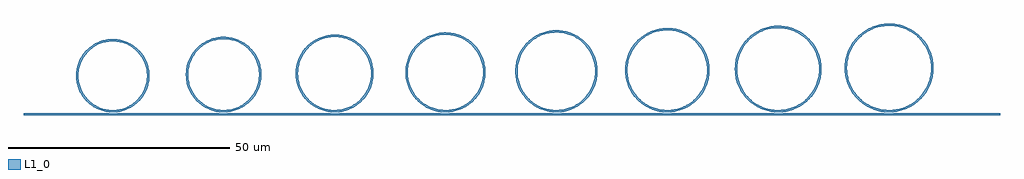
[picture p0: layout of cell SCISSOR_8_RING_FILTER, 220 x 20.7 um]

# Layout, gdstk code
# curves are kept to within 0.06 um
import gdstk
lib = gdstk.Library(unit=1e-6, precision=1e-09)
def R(c, l, rs):  # rectangles x0, y0, x1, y1
    for r in rs: c.add(gdstk.rectangle(r[:2], r[2:], *l))
def P(c, l, *ps):  # polygons
    for p in ps: c.add(gdstk.Polygon(p, *l))
L1_0 = (1, 0)

ring_1_r8 = lib.new_cell('RING_1_R8')
P(ring_1_r8, L1_0, [(0.272,-8.246),(1.709,-8.071),(3.094,-7.648),(4.687,-6.79),(5.802,-5.866),(6.738,-4.761),(7.613,-3.178),(8.052,-1.798),(8.25,0),(7.75,0),(7.622,-1.404),(7.108,-3.088),(6.432,-4.324),(5.29,-5.664),(4.176,-6.528),(2.925,-7.177),(1.577,-7.588),(0.176,-7.748),(-1.23,-7.652),(-2.595,-7.303),(-3.875,-6.712),(-5.29,-5.664),(-6.432,-4.324),(-7.108,-3.088),(-7.622,-1.404),(-7.75,0),(-8.248,0),(-8.089,-1.621),(-7.542,-3.345),(-6.632,-4.908),(-5.671,-5.992),(-4.229,-7.084),(-2.925,-7.714),(-1.532,-8.107)],
  [(-7.742,0.353),(-7.55,1.749),(-7.108,3.088),(-6.432,4.324),(-5.29,5.664),(-3.875,6.712),(-2.595,7.303),(-1.23,7.652),(0.176,7.748),(1.577,7.588),(2.925,7.177),(4.176,6.528),(5.29,5.664),(6.432,4.324),(7.108,3.088),(7.622,1.404),(7.75,0),(8.25,0),(8.052,1.798),(7.613,3.178),(6.738,4.761),(5.802,5.866),(4.687,6.79),(3.094,7.648),(1.709,8.071),(0.272,8.246),(-1.532,8.107),(-2.925,7.714),(-4.229,7.084),(-5.671,5.992),(-6.841,4.612),(-7.387,3.673),(-7.806,2.67),(-8.153,1.264),(-8.248,0),(-7.75,0)])

ring_2_r8_25 = lib.new_cell('RING_2_R8.25')
P(ring_2_r8_25, L1_0, [(0.46,-8.488),(1.917,-8.281),(3.317,-7.826),(4.617,-7.137),(6.043,-5.978),(7.187,-4.539),(7.862,-3.232),(8.373,-1.466),(8.5,0),(8,0),(7.799,-1.78),(7.356,-3.144),(6.677,-4.407),(5.529,-5.782),(4.407,-6.677),(2.811,-7.49),(1.428,-7.871),(0,-8),(-1.428,-7.871),(-2.811,-7.49),(-4.407,-6.677),(-5.529,-5.782),(-6.677,-4.407),(-7.356,-3.144),(-7.799,-1.78),(-8,0),(-8.498,0),(-8.339,-1.647),(-7.79,-3.401),(-7.087,-4.694),(-5.912,-6.107),(-4.461,-7.235),(-2.801,-8.025),(-1.01,-8.44)],
  [(-7.992,0.359),(-7.712,2.128),(-7.208,3.471),(-6.472,4.702),(-5.529,5.782),(-4.407,6.677),(-2.811,7.49),(-1.428,7.871),(0,8),(1.428,7.871),(2.811,7.49),(4.407,6.677),(5.529,5.782),(6.677,4.407),(7.356,3.144),(7.799,1.78),(8,0),(8.5,0),(8.373,1.466),(7.862,3.232),(7.187,4.539),(6.043,5.978),(4.617,7.137),(3.317,7.826),(1.917,8.281),(0.092,8.5),(-1.737,8.321),(-3.146,7.896),(-4.461,7.235),(-5.912,6.107),(-7.087,4.694),(-7.93,3.06),(-8.339,1.647),(-8.498,0.184),(-8.498,0),(-8,0)])

ring_3_r8_5 = lib.new_cell('RING_3_R8.5')
P(ring_3_r8_5, L1_0, [(0.28,-8.746),(2.129,-8.487),(3.542,-8.001),(4.852,-7.282),(6.286,-6.087),(7.434,-4.616),(8.111,-3.284),(8.551,-1.856),(8.75,0),(8.25,0),(8.052,-1.798),(7.746,-2.841),(7.305,-3.834),(6.522,-5.052),(5.538,-6.115),(4.384,-6.989),(3.094,-7.648),(1.709,-8.071),(-0.091,-8.25),(-1.532,-8.107),(-2.925,-7.714),(-4.229,-7.084),(-5.671,-5.992),(-6.632,-4.908),(-7.387,-3.673),(-8.01,-1.974),(-8.2,-0.904),(-8.248,0),(-8.748,0),(-8.589,-1.673),(-8.039,-3.456),(-7.123,-5.082),(-6.154,-6.22),(-4.695,-7.384),(-3.022,-8.212),(-1.212,-8.666)],
  [(-8.248,0.181),(-8.089,1.621),(-7.542,3.345),(-6.841,4.612),(-5.929,5.737),(-4.835,6.685),(-3.261,7.578),(-1.532,8.107),(-0.091,8.25),(1.709,8.071),(3.094,7.648),(4.384,6.989),(5.538,6.115),(6.522,5.052),(7.305,3.834),(7.746,2.841),(8.052,1.798),(8.25,0),(8.75,0),(8.551,1.856),(8.111,3.284),(7.434,4.616),(6.286,6.087),(4.852,7.282),(3.542,8.001),(1.764,8.57),(-0.093,8.75),(-1.947,8.531),(-3.712,7.924),(-5.006,7.177),(-6.414,5.952),(-7.531,4.456),(-8.304,2.757),(-8.652,1.304),(-8.748,0),(-8.248,0)])

ring_4_r8_75 = lib.new_cell('RING_4_R8.75')
P(ring_4_r8_75, L1_0, [(0.474,-8.987),(2.345,-8.689),(3.77,-8.172),(5.089,-7.423),(6.529,-6.194),(7.477,-5.01),(8.36,-3.334),(8.801,-1.884),(9,0),(8.5,0),(8.301,-1.827),(7.994,-2.888),(7.553,-3.9),(6.767,-5.144),(5.778,-6.234),(4.617,-7.137),(2.974,-7.963),(1.557,-8.356),(0.092,-8.5),(-1.737,-8.321),(-3.146,-7.896),(-4.461,-7.235),(-5.912,-6.107),(-6.877,-4.996),(-7.635,-3.735),(-8.26,-2.007),(-8.45,-0.919),(-8.498,0),(-8.998,0),(-8.838,-1.698),(-8.287,-3.51),(-7.369,-5.167),(-6.125,-6.594),(-4.609,-7.73),(-2.889,-8.524),(-1.041,-8.94)],
  [(-8.498,0.184),(-8.26,2.007),(-7.79,3.401),(-7.087,4.694),(-5.912,6.107),(-4.461,7.235),(-3.146,7.896),(-1.737,8.321),(0.092,8.5),(1.557,8.356),(2.974,7.963),(4.617,7.137),(5.778,6.234),(6.767,5.144),(7.553,3.9),(7.994,2.888),(8.301,1.827),(8.5,0),(9,0),(8.801,1.884),(8.212,3.684),(7.259,5.321),(6.263,6.464),(5.089,7.423),(3.422,8.324),(1.604,8.856),(0.095,8.999),(-1.791,8.82),(-3.597,8.25),(-4.931,7.529),(-6.397,6.33),(-7.581,4.851),(-8.132,3.856),(-8.554,2.799),(-8.902,1.324),(-8.998,0),(-8.498,0)])

ring_5_r9 = lib.new_cell('RING_5_R9')
P(ring_5_r9, L1_0, [(0.289,-9.245),(2.192,-8.987),(3.651,-8.499),(5.008,-7.777),(6.507,-6.575),(7.506,-5.406),(8.461,-3.739),(9.051,-1.911),(9.25,0),(8.75,0),(8.551,-1.856),(8.243,-2.934),(7.801,-3.964),(7.012,-5.233),(6.02,-6.35),(4.852,-7.282),(3.197,-8.145),(1.396,-8.638),(-0.093,-8.75),(-1.947,-8.531),(-3.37,-8.075),(-5.006,-7.177),(-6.154,-6.22),(-7.123,-5.082),(-7.883,-3.796),(-8.509,-2.038),(-8.7,-0.933),(-8.748,0),(-9.248,0),(-9.088,-1.722),(-8.537,-3.562),(-7.617,-5.249),(-6.368,-6.709),(-5.169,-7.671),(-3.473,-8.573),(-1.627,-9.106)],
  [(-8.748,0.187),(-8.589,1.673),(-8.039,3.456),(-7.123,5.082),(-6.154,6.22),(-5.006,7.177),(-3.37,8.075),(-1.947,8.531),(-0.093,8.75),(1.396,8.638),(3.197,8.145),(4.852,7.282),(6.02,6.35),(7.012,5.233),(7.801,3.964),(8.243,2.934),(8.551,1.856),(8.75,0),(9.25,0),(9.051,1.911),(8.461,3.739),(7.506,5.406),(6.507,6.575),(5.008,7.777),(3.651,8.499),(2.192,8.987),(0.289,9.245),(-1.627,9.106),(-3.473,8.573),(-5.169,7.671),(-6.642,6.438),(-7.829,4.927),(-8.381,3.914),(-8.803,2.84),(-9.152,1.342),(-9.248,0),(-8.748,0)])

ring_6_r9_25 = lib.new_cell('RING_6_R9.25')
P(ring_6_r9_25, L1_0, [(0.487,-9.487),(2.412,-9.189),(3.882,-8.671),(5.568,-7.697),(7.021,-6.4),(7.973,-5.166),(8.858,-3.432),(9.372,-1.554),(9.5,0),(9,0),(8.801,-1.884),(8.493,-2.979),(8.049,-4.027),(7.259,-5.321),(6.263,-6.464),(5.089,-7.423),(3.422,-8.324),(1.604,-8.856),(0.095,-8.999),(-1.417,-8.888),(-3.246,-8.394),(-4.931,-7.529),(-6.125,-6.594),(-7.145,-5.473),(-7.962,-4.195),(-8.428,-3.157),(-8.759,-2.069),(-8.95,-0.947),(-8.998,0),(-9.498,0),(-9.338,-1.746),(-8.786,-3.613),(-7.865,-5.328),(-6.613,-6.82),(-5.084,-8.025),(-3.341,-8.893),(-1.457,-9.388)],
  [(-8.998,0.19),(-8.759,2.069),(-8.132,3.856),(-7.145,5.473),(-6.125,6.594),(-4.931,7.529),(-3.246,8.394),(-1.417,8.888),(0.095,8.999),(1.604,8.856),(3.422,8.324),(5.089,7.423),(6.263,6.464),(7.259,5.321),(8.049,4.027),(8.493,2.979),(8.801,1.884),(9,0),(9.5,0),(9.3,1.937),(8.71,3.793),(7.973,5.166),(6.752,6.683),(5.247,7.919),(3.523,8.823),(1.65,9.356),(0.098,9.499),(-1.841,9.32),(-3.703,8.749),(-5.409,7.81),(-6.888,6.543),(-7.64,5.647),(-8.276,4.665),(-9.053,2.88),(-9.402,1.361),(-9.498,0),(-8.998,0)])

ring_7_r9_5 = lib.new_cell('RING_7_R9.5')
P(ring_7_r9_5, L1_0, [(0.296,-9.745),(2.252,-9.486),(4.116,-8.839),(5.811,-7.829),(6.998,-6.789),(8.222,-5.241),(8.96,-3.845),(9.55,-1.963),(9.75,0),(9.25,0),(9.051,-1.911),(8.742,-3.023),(8.298,-4.088),(7.506,-5.406),(6.228,-6.84),(5.008,-7.777),(3.294,-8.644),(1.438,-9.138),(-0.096,-9.249),(-1.627,-9.106),(-3.473,-8.573),(-5.169,-7.671),(-6.368,-6.709),(-7.392,-5.561),(-8.211,-4.259),(-8.677,-3.204),(-9.009,-2.099),(-9.2,-0.961),(-9.248,0),(-9.748,0),(-9.588,-1.769),(-9.036,-3.663),(-8.114,-5.407),(-6.859,-6.929),(-5.324,-8.168),(-3.571,-9.073),(-1.671,-9.606)],
  [(-9.248,0.192),(-9.009,2.099),(-8.537,3.562),(-7.617,5.249),(-6.642,6.438),(-5.169,7.671),(-3.827,8.421),(-2.005,9.03),(-0.096,9.249),(1.438,9.138),(3.294,8.644),(5.008,7.777),(6.228,6.84),(7.506,5.406),(8.298,4.088),(8.742,3.023),(9.051,1.911),(9.25,0),(9.75,0),(9.55,1.963),(8.96,3.845),(8.222,5.241),(6.998,6.789),(5.488,8.058),(3.754,8.998),(1.866,9.57),(-0.099,9.749),(-2.059,9.53),(-3.936,8.92),(-5.651,7.946),(-7.134,6.645),(-7.888,5.731),(-8.525,4.732),(-9.303,2.919),(-9.652,1.379),(-9.748,0),(-9.248,0)])

ring_8_r9_75 = lib.new_cell('RING_8_R9.75')
P(ring_8_r9_75, L1_0, [(0.5,-9.987),(2.475,-9.689),(3.988,-9.17),(5.731,-8.195),(7.246,-6.892),(8.252,-5.649),(9.21,-3.896),(9.8,-1.988),(10,0),(9.5,0),(9.428,-1.167),(9.213,-2.317),(8.547,-4.147),(7.522,-5.803),(6.472,-6.955),(4.918,-8.128),(3.523,-8.823),(1.65,-9.356),(0.098,-9.499),(-1.841,-9.32),(-3.703,-8.749),(-5.409,-7.81),(-6.613,-6.82),(-7.64,-5.647),(-8.46,-4.322),(-8.927,-3.249),(-9.259,-2.128),(-9.45,-0.974),(-9.498,0),(-9.998,0),(-9.95,-0.999),(-9.759,-2.183),(-9.13,-4.08),(-8.137,-5.813),(-6.819,-7.314),(-5.229,-8.524),(-3.431,-9.393),(-1.495,-9.888)],
  [(-9.498,0.195),(-9.259,2.128),(-8.786,3.613),(-7.865,5.328),(-6.613,6.82),(-5.409,7.81),(-3.703,8.749),(-1.841,9.32),(0.098,9.499),(1.65,9.356),(3.523,8.823),(4.918,8.128),(6.472,6.955),(7.522,5.803),(8.547,4.147),(9.213,2.317),(9.428,1.167),(9.5,0),(10,0),(9.8,1.988),(9.21,3.896),(8.252,5.649),(7.246,6.892),(5.731,8.195),(3.988,9.17),(2.086,9.78),(0.1,9.999),(-1.89,9.82),(-3.804,9.248),(-5.566,8.308),(-7.106,7.036),(-7.898,6.134),(-8.576,5.144),(-9.427,3.336),(-9.838,1.791),(-9.998,0.2),(-9.998,0),(-9.498,0)])

scissor_8_ring_filter = lib.new_cell('SCISSOR_8_RING_FILTER')
R(scissor_8_ring_filter, L1_0, [(-20,-0.25,200,0.25)])
scissor_8_ring_filter.add(gdstk.Reference(ring_1_r8, (0,8.7)))
scissor_8_ring_filter.add(gdstk.Reference(ring_2_r8_25, (25,8.95)))
scissor_8_ring_filter.add(gdstk.Reference(ring_3_r8_5, (50,9.2)))
scissor_8_ring_filter.add(gdstk.Reference(ring_4_r8_75, (75,9.45)))
scissor_8_ring_filter.add(gdstk.Reference(ring_5_r9, (100,9.7)))
scissor_8_ring_filter.add(gdstk.Reference(ring_6_r9_25, (125,9.95)))
scissor_8_ring_filter.add(gdstk.Reference(ring_7_r9_5, (150,10.2)))
scissor_8_ring_filter.add(gdstk.Reference(ring_8_r9_75, (175,10.45)))

lib.write_gds('SCISSOR_8_RING_FILTER.gds')
